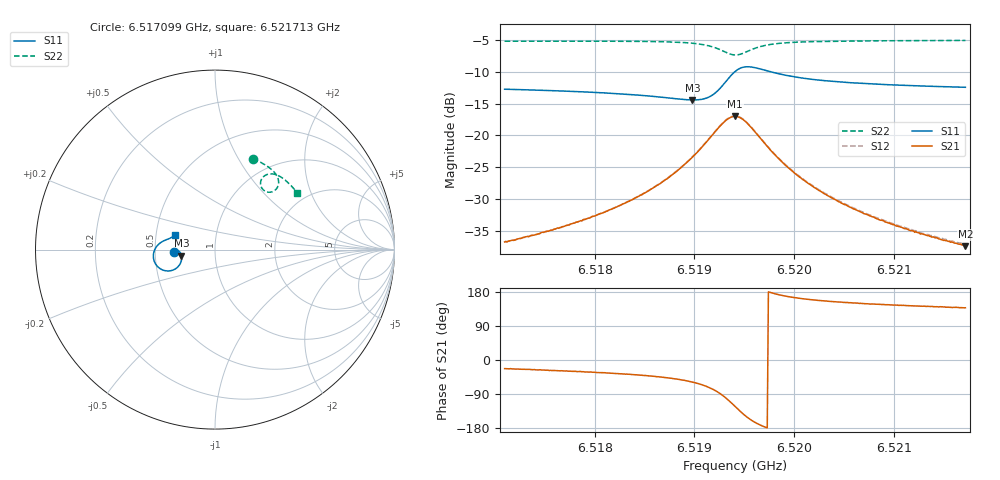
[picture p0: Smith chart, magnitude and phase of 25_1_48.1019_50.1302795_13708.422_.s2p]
#  HZ  S  RI  R  50.00
! Rohde & Schwarz Vector Network Analyzer
! Rohde-Schwarz,ZNB20-2Port,1311601062101988,3.16
! Created: UTC 12/23/2023, 3:37:05 AM
! freq[Hz]  re:S11  im:S11  re:S21  im:S21  re:S12  im:S12  re:S22  im:S22
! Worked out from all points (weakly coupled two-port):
!   401 points, 6.517099 GHz to 6.521713 GHz, reference 50 ohm
!   highest |S21| = -17.01 dB at 6.519406 GHz (marker M1); lowest = -37.4 dB at 6.521713 GHz (marker M2)
!   lowest |S11| = -14.4 dB at 6.518979 GHz (marker M3), VSWR 1.47, Z = 34.2 - j2.35 ohm
!   |S11| at or under -10 dB: start of sweep to 6.519404 GHz; 6.51976 GHz to end of sweep
!   |S22| runs from -7.4 to -5.1 dB; largest |S21 - S12| = 0.0043
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6.5170986e9  -0.23 -0.0151  0.0135 -0.00564  0.0136 -0.00513  0.2109 0.5066
6.5174216e9  -0.2264 -0.0103  0.0151 -0.0074  0.0153 -0.00682  0.2348 0.4962
6.5178714e9  -0.2199 -0.00519  0.0183 -0.011  0.0188 -0.0104  0.2681 0.479
6.5183213e9  -0.2104 -0.00378  0.0238 -0.0181  0.0243 -0.0175  0.3019 0.4568
6.5186443e9  -0.2002 -0.00888  0.0296 -0.029  0.0305 -0.0282  0.327 0.4347
6.5188058e9  -0.1938 -0.0163  0.033 -0.0392  0.0344 -0.0382  0.3398 0.4191
6.5189789e9  -0.1869 -0.0331  0.0357 -0.0574  0.0376 -0.0566  0.3514 0.3955
6.5190942e9  -0.1862 -0.0539  0.0328 -0.0777  0.0354 -0.0772  0.3546 0.3726
6.519175e9  -0.192 -0.0753  0.0241 -0.097  0.0272 -0.0971  0.3502 0.3524
6.5192326e9  -0.204 -0.0933  0.0107 -0.1125  0.0142 -0.113  0.3409 0.3369
6.5193134e9  -0.2378 -0.1153  -0.0229 -0.1289  -0.0193 -0.1306  0.3145 0.3209
6.5194057e9  -0.2968 -0.111  -0.0755 -0.1192  -0.0727 -0.1222  0.2737 0.3289
6.5194518e9  -0.3222 -0.0921  -0.096 -0.0995  -0.094 -0.1031  0.2593 0.3456
6.5195095e9  -0.3401 -0.0598  -0.1084 -0.0697  -0.1071 -0.0733  0.2536 0.3706
6.5196018e9  -0.3403 -0.0132  -0.1036 -0.0295  -0.1035 -0.0327  0.2658 0.4017
6.5197056e9  -0.3241 0.0189  -0.0859 -0.00484  -0.0865 -0.00729  0.2889 0.418
6.5199133e9  -0.2932 0.0449  -0.057 0.0116  -0.058 0.00992  0.3273 0.4207
6.5201786e9  -0.2699 0.0557  -0.0374 0.0144  -0.0382 0.0135  0.3595 0.4088
6.5204785e9  -0.2547 0.0616  -0.026 0.0135  -0.0267 0.013  0.3854 0.3917
6.5209515e9  -0.2403 0.0684  -0.0169 0.0116  -0.0175 0.0112  0.4169 0.3636
6.5212975e9  -0.2328 0.0733  -0.0132 0.0102  -0.0136 0.0102  0.4363 0.3425
6.5217128e9  -0.2253 0.0788  -0.01 0.00908  -0.0106 0.00912  0.4569 0.3171
